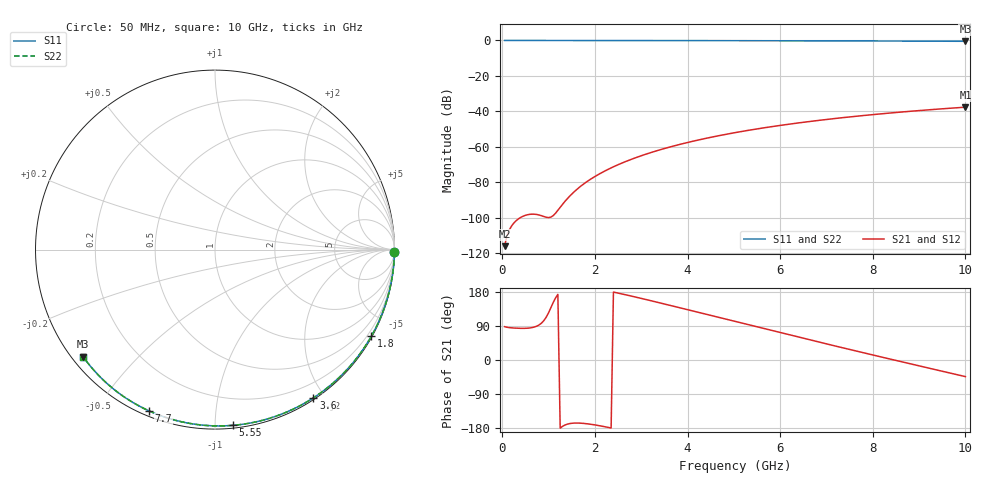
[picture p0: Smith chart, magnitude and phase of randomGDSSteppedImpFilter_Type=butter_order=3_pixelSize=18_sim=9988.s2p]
! freq	dB(S11)	phase(S11)	dB(S12)	phase(S12)
!  dB(S21)	phase(S21)	dB(S22)	phase(S22)
!S-par simulation data
#  GHz  S  DB  R 50
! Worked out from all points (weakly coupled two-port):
!   200 points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, 50 MHz to 10 GHz, reference 50 ohm
!   highest |S21| = -37.67 dB at 10 GHz (marker M1); lowest = -116.1 dB at 50 MHz (marker M2)
!   lowest |S11| = -0.5 dB at 10 GHz (marker M3), VSWR 36.42, Z = 1.55 - j17.7 ohm
!   |S11| at or under -10 dB: nowhere
!   |S22| runs from -0.5 to 0.0 dB; largest |S21 - S12| = 0
!   S11 on the Smith chart (normalised r, x): 50 MHz: open; 1.8 GHz: 0.03, -3.88; 3.6 GHz: 0.02, -1.86; 5.55 GHz: 0.02, -1.11; 7.7 GHz: 0.02, -0.67; 10 GHz: 0.03, -0.35
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0.05  -0.00 -0.8  -116.14 87.9  -116.14 87.9  -0.00 -0.8
0.45  -0.01 -7.3  -99.21 83.5  -99.21 83.5  -0.01 -7.3
0.9  -0.02 -14.6  -99.43 104.3  -99.43 104.3  -0.02 -14.6
1.3  -0.03 -21.0  -92.54 -175.1  -92.54 -175.1  -0.03 -21.0
1.75  -0.04 -28.1  -81.16 -167.2  -81.16 -167.2  -0.04 -28.1
1.8  -0.04 -28.9  -80.21 -167.8  -80.21 -167.8  -0.04 -28.9
2.15  -0.04 -34.4  -74.58 -174.6  -74.58 -174.6  -0.04 -34.4
2.35  -0.05 -37.5  -71.93 -179.4  -71.93 -179.4  -0.05 -37.5
2.55  -0.05 -40.6  -69.58 175.3  -69.58 175.3  -0.05 -40.6
2.95  -0.06 -46.7  -65.54 164.0  -65.54 164.0  -0.06 -46.7
3.4  -0.07 -53.5  -61.76 150.8  -61.76 150.8  -0.07 -53.5
3.6  -0.08 -56.4  -60.28 144.8  -60.28 144.8  -0.08 -56.5
3.9  -0.08 -60.9  -58.24 135.8  -58.24 135.8  -0.08 -60.9
4.3  -0.09 -66.7  -55.81 123.7  -55.81 123.7  -0.09 -66.7
5.05  -0.12 -77.3  -51.93 100.9  -51.93 100.9  -0.12 -77.3
5.55  -0.14 -84.2  -49.73 85.8  -49.73 85.8  -0.14 -84.2
6.1  -0.16 -91.6  -47.60 69.3  -47.60 69.3  -0.16 -91.6
6.7  -0.19 -99.5  -45.54 51.4  -45.54 51.4  -0.19 -99.5
7.7  -0.26 -112.3  -42.63 22.0  -42.63 22.0  -0.26 -112.4
8.35  -0.31 -120.5  -41.02 3.2  -41.02 3.2  -0.31 -120.5
9.2  -0.39 -131.1  -39.17 -21.2  -39.17 -21.2  -0.39 -131.1
10  -0.48 -140.9  -37.67 -43.8  -37.67 -43.8  -0.48 -140.9
